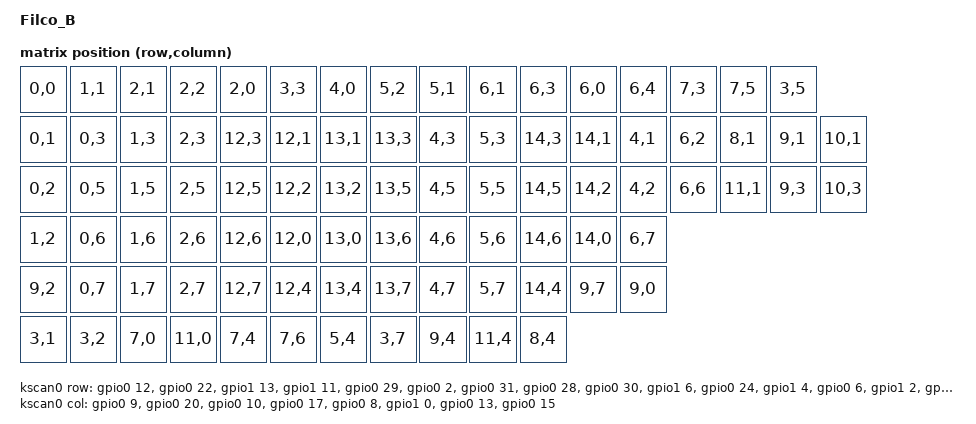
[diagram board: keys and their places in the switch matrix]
/*
 * Copyright (c) 2021 Nick Winans
 *
 * SPDX-License-Identifier: MIT
 */

/dts-v1/;
#include <nordic/nrf52840_qiaa.dtsi>
#include <dt-bindings/zmk/matrix_transform.h>

/ {
	model = "Filco_B";
	compatible = "filco,b";

	chosen {
		zephyr,code-partition = &code_partition;
		zephyr,sram = &sram0;
		zephyr,flash = &flash0;
		zmk,kscan = &kscan0;
		zmk,matrix_transform = &default_transform;
	};

	default_transform: keymap_transform_0 {
		compatible = "zmk,matrix-transform";
		columns = <8>;
		rows = <15>;
		map = <
                RC(0,0) RC(1,1) RC(2,1) RC(2,2)  RC(2,0)  RC(3,3)  RC(4,0)  RC(5,2)  RC(5,1) RC(6,1)  RC(6,3)  RC(6,0)  RC(6,4) RC(7,3) RC(7,5) RC(3,5)
                RC(0,1) RC(0,3) RC(1,3) RC(2,3)  RC(12,3) RC(12,1) RC(13,1) RC(13,3) RC(4,3) RC(5,3)  RC(14,3) RC(14,1) RC(4,1) RC(6,2) RC(8,1) RC(9,1) RC(10,1)
                RC(0,2) RC(0,5) RC(1,5) RC(2,5)  RC(12,5) RC(12,2) RC(13,2) RC(13,5) RC(4,5) RC(5,5)  RC(14,5) RC(14,2) RC(4,2) RC(6,6) RC(11,1) RC(9,3) RC(10,3)
                RC(1,2) RC(0,6) RC(1,6) RC(2,6)  RC(12,6) RC(12,0) RC(13,0) RC(13,6) RC(4,6) RC(5,6)  RC(14,6) RC(14,0) RC(6,7)
                RC(9,2) RC(0,7) RC(1,7) RC(2,7)  RC(12,7) RC(12,4) RC(13,4) RC(13,7) RC(4,7) RC(5,7)  RC(14,4) RC(9,7)  RC(9,0)
                RC(3,1) RC(3,2) RC(7,0) RC(11,0) RC(7,4)  RC(7,6)  RC(5,4)  RC(3,7)  RC(9,4) RC(11,4) RC(8,4)
		>;
	};

	kscan0: kscan {
		compatible = "zmk,kscan-gpio-matrix";
		label = "KSCAN";

		diode-direction = "col2row";
		row-gpios
			= <&gpio0 12  (GPIO_ACTIVE_HIGH | GPIO_PULL_DOWN)> //row 0
			, <&gpio0 22 (GPIO_ACTIVE_HIGH | GPIO_PULL_DOWN)> //row 1
			, <&gpio1 13 (GPIO_ACTIVE_HIGH | GPIO_PULL_DOWN)> //row 2
			, <&gpio1 11 (GPIO_ACTIVE_HIGH | GPIO_PULL_DOWN)> //row 3
			, <&gpio0 29 (GPIO_ACTIVE_HIGH | GPIO_PULL_DOWN)> //row 4
			, <&gpio0 2  (GPIO_ACTIVE_HIGH | GPIO_PULL_DOWN)> //row 5
			, <&gpio0 31 (GPIO_ACTIVE_HIGH | GPIO_PULL_DOWN)> //row 6
			, <&gpio0 28 (GPIO_ACTIVE_HIGH | GPIO_PULL_DOWN)> //row 7
            , <&gpio0 30 (GPIO_ACTIVE_HIGH | GPIO_PULL_DOWN)> //row 8
			, <&gpio1 6  (GPIO_ACTIVE_HIGH | GPIO_PULL_DOWN)> //row 9
			, <&gpio0 24 (GPIO_ACTIVE_HIGH | GPIO_PULL_DOWN)> //row 10
			, <&gpio1 4  (GPIO_ACTIVE_HIGH | GPIO_PULL_DOWN)> //row 11
			, <&gpio0 6  (GPIO_ACTIVE_HIGH | GPIO_PULL_DOWN)> //row 12
			, <&gpio1 2  (GPIO_ACTIVE_HIGH | GPIO_PULL_DOWN)> //row 13
			, <&gpio0 3  (GPIO_ACTIVE_HIGH | GPIO_PULL_DOWN)> //row 14
			;
		col-gpios
			= <&gpio0 9  GPIO_ACTIVE_HIGH> //col 0
			, <&gpio0 20 GPIO_ACTIVE_HIGH> //col 1
			, <&gpio0 10 GPIO_ACTIVE_HIGH> //col 2
			, <&gpio0 17 GPIO_ACTIVE_HIGH> //col 3
			, <&gpio0 8  GPIO_ACTIVE_HIGH> //col 4
			, <&gpio1 0  GPIO_ACTIVE_HIGH> //col 5
			, <&gpio0 13 GPIO_ACTIVE_HIGH> //col 6
			, <&gpio0 15 GPIO_ACTIVE_HIGH> //col 7
			;
	};

	vbatt {
		compatible = "zmk,battery-voltage-divider";
		label = "BATTERY";
		io-channels = <&adc 2>;
		output-ohms = <2000000>;
		full-ohms = <(2000000 + 806000)>;
	};
};

&adc {
	status = "okay";
};

&gpiote {
	status = "okay";
};

&gpio0 {
	status = "okay";
};

&gpio1 {
	status = "okay";
};

&usbd {
	status = "okay";
};

&flash0 {
	/*
	 * For more information, see:
	 * http://docs.zephyrproject.org/latest/devices/dts/flash_partitions.html
	 */
	partitions {
		compatible = "fixed-partitions";
		#address-cells = <1>;
		#size-cells = <1>;

		sd_partition: partition@0 {
			label = "mbr";
			reg = <0x00000000 0x00001000>;
		};

		code_partition: partition@1000 {
			label = "code_partition";
			reg = <0x00001000 0x000d3000>;
		};

		/*
		 * The flash starting at 0x000d4000 and ending at
		 * 0x000f3fff is reserved for use by the application.
		 */

		/*
		 * Storage partition will be used by FCB/LittleFS/NVS
		 * if enabled.
		 */
		storage_partition: partition@d4000 {
			label = "storage";
			reg = <0x000d4000 0x00020000>;
		};

		boot_partition: partition@f4000 {
			label = "adafruit_boot";
			reg = <0x000f4000 0x0000c000>;
		};
	};
};
